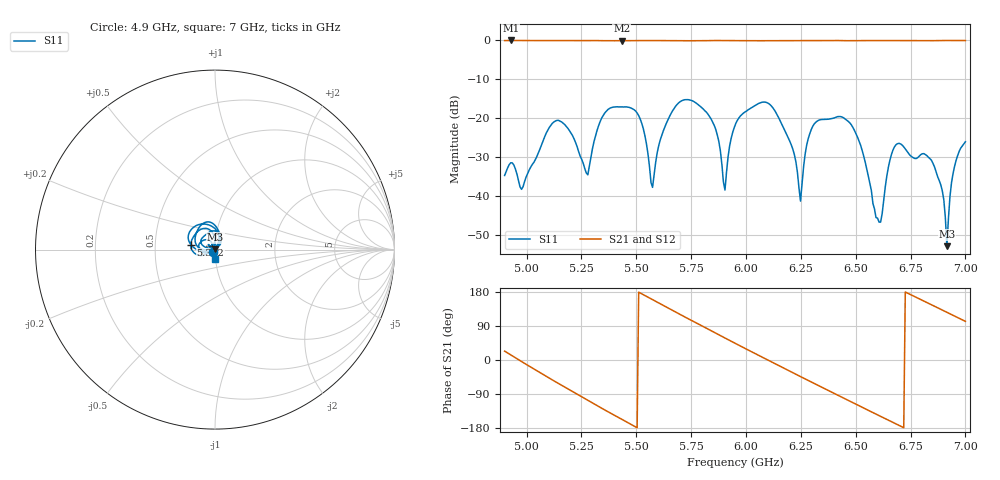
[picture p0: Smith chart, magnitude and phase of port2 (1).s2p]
! 5/6/2022 1:12:33 PM
# GHZ S RI R 50.0
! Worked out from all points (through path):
!   300 points, 4.9 GHz to 7 GHz, reference 50 ohm
!   highest |S21| = -0.03 dB at 4.928 GHz (marker M1); lowest = -0.1 dB at 5.434 GHz (marker M2)
!   lowest |S11| = -52.9 dB at 6.916 GHz (marker M3), VSWR 1.00, Z = 50.1 + j0.179 ohm
!   |S11| at or under -10 dB: start of sweep to end of sweep
!   |S22| runs from - to - dB; largest |S21 - S12| = 0.0055
!   S11 on the Smith chart (normalised r, x): 4.9 GHz: 0.97, -0.03; 5.392 GHz: 0.76, +0.04; 7 GHz: 0.99, -0.10
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4.9  -0.0128 -0.0132  0.9112 0.3951  0.9093 0.3934  0 0
4.928094  -0.0266 0.0025  0.9697 0.2292  0.9649 0.2308  0 0
4.977258  -0.011 -0.00533  0.9904 -0.0724  0.9899 -0.0711  0 0
5.138796  -0.0904 0.0247  0.4998 -0.8568  0.5008 -0.853  0 0
5.251171  -0.0164 0.0247  -0.1254 -0.9836  -0.1258 -0.9814  0 0
5.391639  -0.1354 0.0268  -0.7904 -0.594  -0.7872 -0.5943  0 0
5.433779  -0.1136 0.0806  -0.9046 -0.3946  -0.9024 -0.3943  0 0
5.574247  -0.0124 0.00355  -0.9287 0.3543  -0.9271 0.3516  0 0
5.602341  -0.0411 -0.0167  -0.862 0.4928  -0.8627 0.4912  0 0
5.76388  -0.0801 0.1416  -0.1821 0.9711  -0.1837 0.9696  0 0
5.904348  -0.00867 0.0082  0.5252 0.8412  0.5261 0.839  0 0
5.953512  -0.0852 0.00729  0.7232 0.6789  0.7189 0.6785  0 0
6.11505  -0.0097 0.1438  0.9867 -0.078  0.9847 -0.0743  0 0
6.248495  -0.00259 0.00821  0.7162 -0.6876  0.7179 -0.6846  0 0
6.304682  -0.0737 0.0288  0.4947 -0.8603  0.496 -0.857  0 0
6.480268  0.0297 0.0766  -0.3473 -0.9286  -0.3436 -0.9267  0 0
6.606689  0.00124 -0.00445  -0.8308 -0.5443  -0.8285 -0.5453  0 0
6.655853  -0.0258 0.0127  -0.938 -0.3275  -0.9358 -0.3289  0 0
6.845485  -0.000278 0.0287  -0.8173 0.5594  -0.8158 0.5576  0 0
6.915719  0.0014 0.00178  -0.5822 0.8066  -0.5826 0.8052  0 0
6.943813  0.0107 -0.0163  -0.4652 0.8781  -0.4653 0.8754  0 0
7  -0.00245 -0.0497  -0.2069 0.9723  -0.2087 0.9699  0 0
